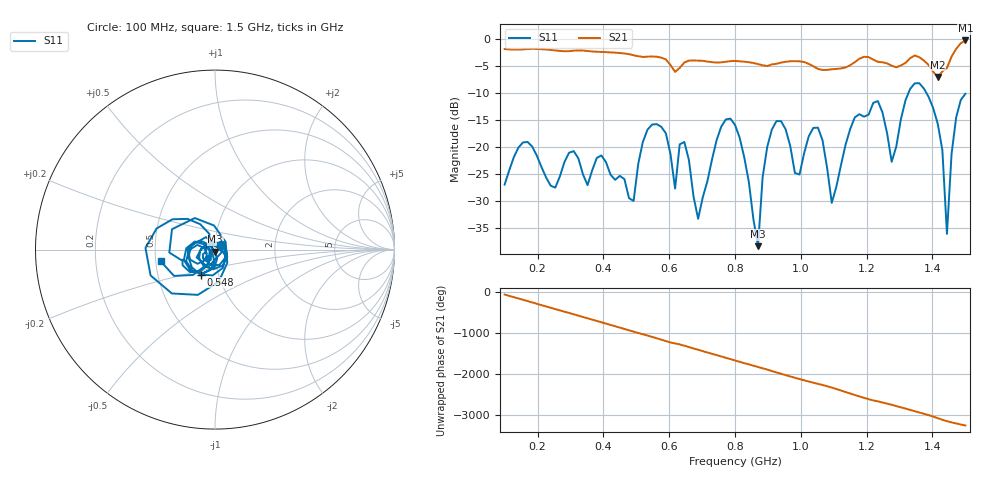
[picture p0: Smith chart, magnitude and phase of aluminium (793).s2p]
! NanoVNA-App
! Date: 2025-09-25 15:01:27
! Start: 100MHz Stop: 1,5GHz Points: 101
! S-Parameter data: F S11 S21 S12 S22
# Hz S RI R 50
!  Frequency  S11_Real  S11_Imag  S21_Real  S21_Imag  S12_Real  S12_Imag  S22_Real  S22_Imag
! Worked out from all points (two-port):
!   101 points, 100 MHz to 1.5 GHz, reference 50 ohm
!   highest |S21| = -0.34 dB at 1.5 GHz (marker M1); lowest = -7.1 dB at 1.416 GHz (marker M2)
!   |S21| within 3 dB of the highest: start of sweep to 515.2 MHz; 1.458 GHz to end of sweep (the widest 2 of 4)
!   lowest |S11| = -38.3 dB at 870 MHz (marker M3), VSWR 1.02, Z = 50.1 - j1.21 ohm
!   |S11| at or under -10 dB: start of sweep to 1.327 GHz; 1.381 GHz to end of sweep
!   S12 and S22 are empty: the file has one direction only
!   S11 on the Smith chart (normalised r, x): 100 MHz: 1.07, +0.06; 548 MHz: 0.82, -0.23; 1.5 GHz: 0.53, -0.08
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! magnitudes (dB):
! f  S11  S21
! 100 MHz  -27.0  -1.9
! 156 MHz  -19.2  -2.0
! 338 MHz  -25.0  -2.2
! 492 MHz  -30.0  -3.1
! 548 MHz  -15.9  -3.3
! 576 MHz  -16.3  -3.5
! 618 MHz  -27.7  -6.1
! 646 MHz  -19.1  -4.4
! 688 MHz  -33.3  -4.1
! 800 MHz  -15.9  -4.1
! 870 MHz  -38.3  -4.7
! 912 MHz  -16.8  -4.8
! 996 MHz  -25.1  -4.2
! 1.038 GHz  -16.5  -5.1
! 1.094 GHz  -30.3  -5.6
! 1.22 GHz  -11.9  -3.9
! 1.276 GHz  -22.7  -5.0
! 1.346 GHz  -8.3  -3.1
! 1.416 GHz  -15.7  -7.1
! 1.444 GHz  -36.0  -5.4
! 1.472 GHz  -14.5  -1.9
! 1.5 GHz  -10.2  -0.3
